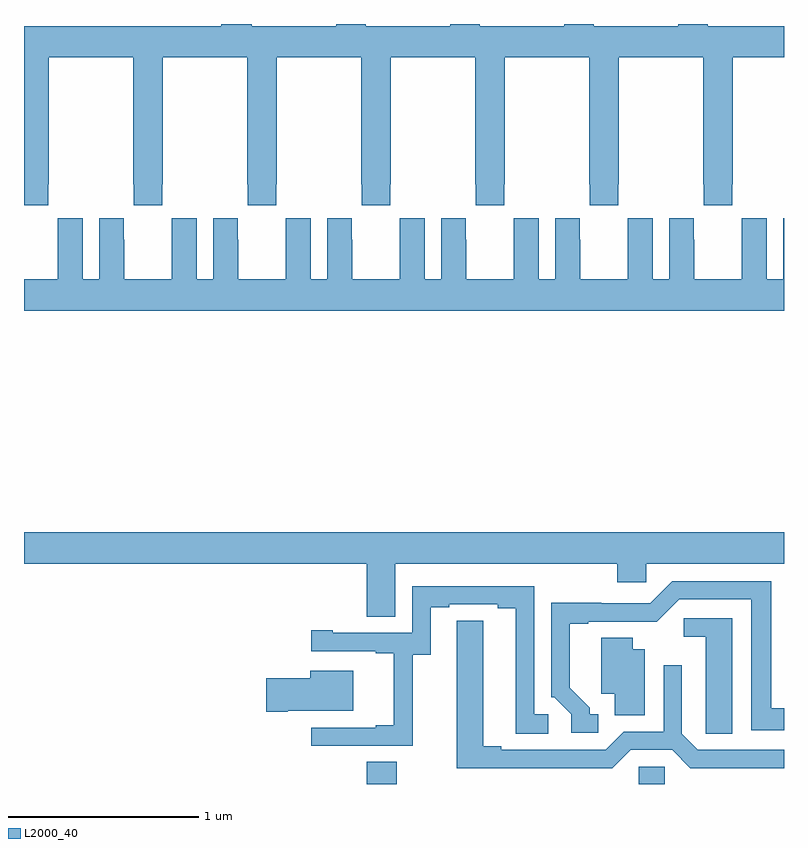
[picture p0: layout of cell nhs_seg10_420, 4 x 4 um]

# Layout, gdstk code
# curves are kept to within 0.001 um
import gdstk
lib = gdstk.Library(unit=1e-6, precision=1e-09)
def R(c, l, rs):  # rectangles x0, y0, x1, y1
    for r in rs: c.add(gdstk.rectangle(r[:2], r[2:], *l))
def P(c, l, *ps):  # polygons
    for p in ps: c.add(gdstk.Polygon(p, *l))
L2000_40 = (2000, 40)

nhs_seg10_420 = lib.new_cell('nhs_seg10_420')
R(nhs_seg10_420, L2000_40, [(132.803,1288.5,132.963,1288.616), (134.235,1288.5,134.373,1288.59)])
P(nhs_seg10_420, L2000_40, [(131.127,1291.657),(131.13,1291.657),(131.13,1292.324),(131.575,1292.324),(131.575,1291.657),(131.577,1291.657),(131.577,1291.545),(131.727,1291.545),(131.727,1291.657),(131.73,1291.657),(131.73,1292.324),(132.175,1292.324),(132.175,1291.657),(132.177,1291.657),(132.177,1291.545),(132.327,1291.545),(132.327,1291.657),(132.33,1291.657),(132.33,1292.324),(132.775,1292.324),(132.775,1291.657),(132.777,1291.657),(132.777,1291.545),(132.927,1291.545),(132.927,1291.657),(132.93,1291.657),(132.93,1292.324),(133.375,1292.324),(133.375,1291.657),(133.377,1291.657),(133.377,1291.545),(133.527,1291.545),(133.527,1291.657),(133.53,1291.657),(133.53,1292.324),(133.975,1292.324),(133.975,1291.657),(133.977,1291.657),(133.977,1291.545),(134.127,1291.545),(134.127,1291.657),(134.13,1291.657),(134.13,1292.324),(134.575,1292.324),(134.575,1291.657),(134.577,1291.657),(134.577,1291.545),(134.727,1291.545),(134.727,1291.657),(134.73,1291.657),(134.73,1292.324),(135,1292.324),(135,1292.488),(134.598,1292.488),(134.598,1292.5),(134.443,1292.5),(134.443,1292.488),(133.998,1292.488),(133.998,1292.5),(133.843,1292.5),(133.843,1292.488),(133.398,1292.488),(133.398,1292.5),(133.243,1292.5),(133.243,1292.488),(132.798,1292.488),(132.798,1292.5),(132.643,1292.5),(132.643,1292.488),(132.198,1292.488),(132.198,1292.5),(132.038,1292.5),(132.038,1292.488),(131,1292.488),(131,1291.545),(131.127,1291.545)],
  [(135,1291.477),(134.996,1291.477),(134.996,1291.156),(134.908,1291.156),(134.908,1291.477),(134.778,1291.477),(134.778,1291.364),(134.777,1291.364),(134.777,1291.156),(134.527,1291.156),(134.527,1291.364),(134.526,1291.364),(134.526,1291.477),(134.396,1291.477),(134.396,1291.156),(134.308,1291.156),(134.308,1291.477),(134.178,1291.477),(134.178,1291.364),(134.177,1291.364),(134.177,1291.156),(133.927,1291.156),(133.927,1291.364),(133.926,1291.364),(133.926,1291.477),(133.796,1291.477),(133.796,1291.156),(133.708,1291.156),(133.708,1291.477),(133.578,1291.477),(133.578,1291.364),(133.577,1291.364),(133.577,1291.156),(133.327,1291.156),(133.327,1291.364),(133.326,1291.364),(133.326,1291.477),(133.196,1291.477),(133.196,1291.156),(133.108,1291.156),(133.108,1291.477),(132.978,1291.477),(132.978,1291.364),(132.977,1291.364),(132.977,1291.156),(132.727,1291.156),(132.727,1291.364),(132.726,1291.364),(132.726,1291.477),(132.596,1291.477),(132.596,1291.156),(132.508,1291.156),(132.508,1291.477),(132.378,1291.477),(132.378,1291.364),(132.377,1291.364),(132.377,1291.156),(132.127,1291.156),(132.127,1291.364),(132.126,1291.364),(132.126,1291.477),(131.996,1291.477),(131.996,1291.156),(131.908,1291.156),(131.908,1291.477),(131.778,1291.477),(131.778,1291.364),(131.777,1291.364),(131.777,1291.156),(131.527,1291.156),(131.527,1291.364),(131.526,1291.364),(131.526,1291.477),(131.396,1291.477),(131.396,1291.156),(131.308,1291.156),(131.308,1291.477),(131.178,1291.477),(131.178,1291.364),(131.177,1291.364),(131.177,1291.156),(131,1291.156),(131,1290.992),(135,1290.992)],
  [(132.955,1289.66),(134.123,1289.66),(134.123,1289.562),(134.274,1289.562),(134.274,1289.66),(135,1289.66),(135,1289.824),(131,1289.824),(131,1289.66),(132.803,1289.66),(132.803,1289.38),(132.955,1289.38)],
  [(134.023,1288.866),(133.978,1288.866),(133.978,1288.901),(133.873,1289.006),(133.873,1289.343),(133.969,1289.343),(133.969,1289.355),(134.33,1289.354),(134.448,1289.472),(134.828,1289.472),(134.828,1288.782),(135,1288.782),(135,1288.898),(134.932,1288.898),(134.932,1289.568),(134.412,1289.568),(134.295,1289.451),(134.039,1289.451),(134.039,1289.453),(133.776,1289.453),(133.776,1288.956),(133.791,1288.956),(133.881,1288.866),(133.881,1288.77),(134.023,1288.77)],
  [(133.047,1289.179),(133.141,1289.179),(133.141,1289.43),(133.237,1289.43),(133.237,1289.445),(133.493,1289.445),(133.493,1289.425),(133.589,1289.425),(133.589,1288.765),(133.759,1288.765),(133.759,1288.866),(133.686,1288.866),(133.686,1289.541),(133.044,1289.541),(133.044,1289.295),(132.625,1289.295),(132.625,1289.308),(132.513,1289.308),(132.513,1289.199),(132.851,1289.199),(132.851,1289.187),(132.947,1289.187),(132.947,1288.81),(132.851,1288.81),(132.851,1288.797),(132.513,1288.797),(132.513,1288.701),(133.047,1288.701)],
  [(134.728,1289.373),(134.472,1289.373),(134.472,1289.276),(134.588,1289.276),(134.588,1288.873),(134.589,1288.873),(134.589,1288.765),(134.728,1288.765)],
  [(134.193,1288.68),(134.411,1288.68),(134.507,1288.584),(135,1288.584),(135,1288.68),(134.547,1288.68),(134.463,1288.764),(134.463,1289.125),(134.367,1289.125),(134.367,1288.776),(134.157,1288.776),(134.061,1288.68),(133.513,1288.68),(133.513,1288.7),(133.417,1288.7),(133.417,1289.36),(133.278,1289.36),(133.277,1288.584),(134.097,1288.584)],
  [(134.266,1289.209),(134.203,1289.209),(134.203,1289.27),(134.039,1289.27),(134.039,1288.976),(134.108,1288.976),(134.108,1288.861),(134.266,1288.861)],
  [(132.388,1288.886),(132.733,1288.886),(132.733,1289.095),(132.506,1289.095),(132.506,1289.057),(132.276,1289.057),(132.276,1288.879),(132.388,1288.879)])

lib.write_gds('nhs_seg10_420.gds')
